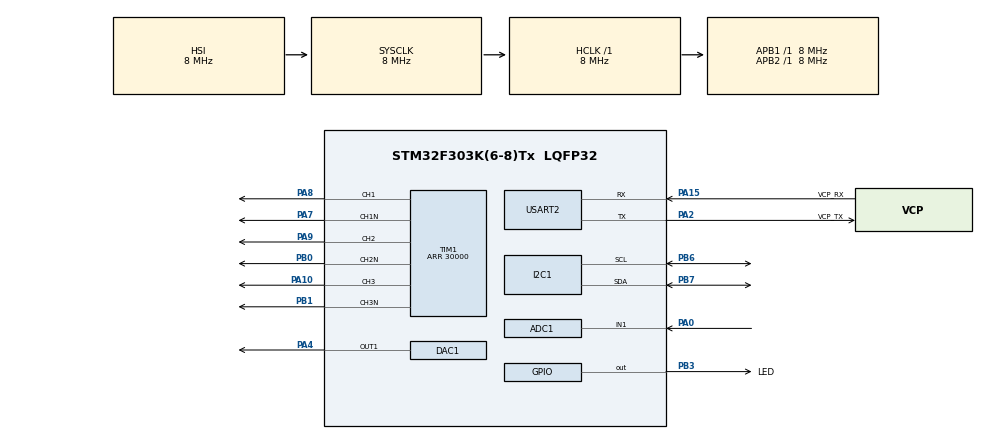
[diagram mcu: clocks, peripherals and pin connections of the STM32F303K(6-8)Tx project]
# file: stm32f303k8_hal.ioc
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ADC1.ClockPrescaler=ADC_CLOCK_SYNC_PCLK_DIV1
ADC1.DMAContinuousRequests=ENABLE
ADC1.EOCSelection=ADC_EOC_SEQ_CONV
ADC1.ExternalTrigConv=ADC_EXTERNALTRIGCONV_T6_TRGO
ADC1.NbrOfConversion=1
ADC1.NbrOfConversionFlag=1
ADC1.Rank1_Channel=ADC_CHANNEL_1
ADC1.SubFamily=STM32F303x8
ADC1.master=1
DAC1.DAC_Trigger=DAC_TRIGGER_T6_TRGO
Dma.ADC1.1.Direction=DMA_PERIPH_TO_MEMORY
Dma.ADC1.1.Instance=DMA1_Channel1
Dma.ADC1.1.MemDataAlignment=DMA_MDATAALIGN_WORD
Dma.ADC1.1.MemInc=DMA_MINC_ENABLE
Dma.ADC1.1.Mode=DMA_CIRCULAR
Dma.ADC1.1.PeriphDataAlignment=DMA_PDATAALIGN_WORD
Dma.ADC1.1.PeriphInc=DMA_PINC_DISABLE
Dma.ADC1.1.Priority=DMA_PRIORITY_HIGH
Dma.DAC1_CH1.0.Direction=DMA_MEMORY_TO_PERIPH
Dma.DAC1_CH1.0.Instance=DMA1_Channel3
Dma.DAC1_CH1.0.MemDataAlignment=DMA_MDATAALIGN_WORD
Dma.DAC1_CH1.0.MemInc=DMA_MINC_ENABLE
Dma.DAC1_CH1.0.Mode=DMA_CIRCULAR
Dma.DAC1_CH1.0.PeriphDataAlignment=DMA_PDATAALIGN_WORD
Dma.DAC1_CH1.0.PeriphInc=DMA_PINC_DISABLE
Dma.DAC1_CH1.0.Priority=DMA_PRIORITY_HIGH
Dma.Request0=DAC1_CH1
Dma.Request1=ADC1
Mcu.Family=STM32F3
Mcu.Name=STM32F303K(6-8)Tx
Mcu.Package=LQFP32
NVIC.DMA1_Channel1_IRQn=true\:2\:0\:true\:false\:true\:false\:true\:true
NVIC.DMA1_Channel3_IRQn=true\:3\:0\:true\:false\:true\:false\:true\:true
NVIC.PriorityGroup=NVIC_PRIORITYGROUP_4
NVIC.TIM1_UP_TIM16_IRQn=true\:0\:0\:true\:false\:true\:true\:true\:true
PA0.Mode=IN1-Single-Ended
PA0.Signal=ADC1_IN1
PA10.Signal=S_TIM1_CH3
PA13.GPIO_Label=SWDIO
PA13.Mode=Serial_Wire
PA13.Signal=SYS_JTMS-SWDIO
PA14.GPIO_Label=SWCLK
PA14.Mode=Serial_Wire
PA14.Signal=SYS_JTCK-SWCLK
PA15.GPIO_Label=VCP_RX
PA15.Mode=Asynchronous
PA15.Signal=USART2_RX
PA2.GPIO_Label=VCP_TX
PA2.Mode=Asynchronous
PA2.Signal=USART2_TX
PA4.Signal=COMP_DAC11_group
PA7.Mode=PWM Generation1 CH1 CH1N
PA7.Signal=TIM1_CH1N
PA8.Signal=S_TIM1_CH1
PA9.Signal=S_TIM1_CH2
PB0.Mode=PWM Generation2 CH2 CH2N
PB0.Signal=TIM1_CH2N
PB1.Mode=PWM Generation3 CH3 CH3N
PB1.Signal=TIM1_CH3N
PB3.GPIO_Label=LED
PB3.PinState=GPIO_PIN_RESET
PB3.Signal=GPIO_Output
PB6.Mode=I2C
PB6.Signal=I2C1_SCL
PB7.Mode=I2C
PB7.Signal=I2C1_SDA
PF0\ /\ OSC_IN.GPIO_Label=MCO
PF0\ /\ OSC_IN.Mode=HSE-External-Clock-Source
PF0\ /\ OSC_IN.Signal=RCC_OSC_IN
ProjectManager.HeapSize=0x200
ProjectManager.StackSize=0x400
ProjectManager.TargetToolchain=STM32CubeIDE
RCC.AHBFreq_Value=8000000
RCC.APB1Freq_Value=8000000
RCC.APB1TimFreq_Value=8000000
RCC.APB2Freq_Value=8000000
RCC.APB2TimFreq_Value=8000000
RCC.CortexFreq_Value=8000000
RCC.HSE_VALUE=8000000
RCC.HSI_VALUE=8000000
RCC.PLLMUL=RCC_PLL_MUL4
RCC.SYSCLKFreq_VALUE=8000000
SH.COMP_DAC11_group.0=DAC1_OUT1,DAC_OUT1
SH.S_TIM1_CH1.0=TIM1_CH1,PWM Generation1 CH1 CH1N
SH.S_TIM1_CH2.0=TIM1_CH2,PWM Generation2 CH2 CH2N
SH.S_TIM1_CH3.0=TIM1_CH3,PWM Generation3 CH3 CH3N
TIM1.Channel-PWM\ Generation1\ CH1\ CH1N=TIM_CHANNEL_1
TIM1.Channel-PWM\ Generation2\ CH2\ CH2N=TIM_CHANNEL_2
TIM1.Channel-PWM\ Generation3\ CH3\ CH3N=TIM_CHANNEL_3
TIM1.CounterMode=TIM_COUNTERMODE_CENTERALIGNED1
TIM1.Period=30000
TIM1.Pulse-PWM\ Generation1\ CH1\ CH1N=7500
TIM1.Pulse-PWM\ Generation2\ CH2\ CH2N=15000
TIM1.Pulse-PWM\ Generation3\ CH3\ CH3N=22500
TIM1.RepetitionCounter=3
TIM6.AutoReloadPreload=TIM_AUTORELOAD_PRELOAD_ENABLE
TIM6.Period=64
TIM6.Prescaler=0
TIM6.TIM_MasterOutputTrigger=TIM_TRGO_UPDATE
USART2.VirtualMode-Asynchronous=VM_ASYNC
VP_TIM6_VS_ClockSourceINT.Mode=Enable_Timer
board=NUCLEO-F303K8

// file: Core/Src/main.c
/* USER CODE BEGIN Header */
/**
  ******************************************************************************
  * @file           : main.c
  * @brief          : Main program body
  ******************************************************************************
  * @attention
  *
  * Copyright (c) 2023 STMicroelectronics.
  * All rights reserved.
  *
  * This software is licensed under terms that can be found in the LICENSE file
  * in the root directory of this software component.
  * If no LICENSE file comes with this software, it is provided AS-IS.
  *
  ******************************************************************************
  */
/* USER CODE END Header */
#include "main.h"
#include "adc.h"
#include "dac.h"
#include "dma.h"
#include "i2c.h"
#include "tim.h"
#include "usart.h"
#include "gpio.h"

/* USER CODE BEGIN Includes */
#include <stdlib.h>
/* USER CODE END Includes */

/* USER CODE BEGIN PD */
#define BUFFERSIZE            128
#define SCREEN_FONT		     Font_7x10

#define TIM1_PWM_FREQ_4K      7500
#define TIM1_PWM_FREQ_8K      15000
#define TIM1_PWM_FREQ_16K     30000

#define TIM1_PWM_4K_25DUTY      ( TIM1_PWM_FREQ_4K * 0.25 )
#define TIM1_PWM_4K_50DUTY      ( TIM1_PWM_FREQ_4K * 0.50 )
#define TIM1_PWM_4K_75DUTY      ( TIM1_PWM_FREQ_4K * 0.75 )

#define TIM1_PWM_8K_25DUTY      ( TIM1_PWM_FREQ_8K * 0.25 )
#define TIM1_PWM_8K_50DUTY      ( TIM1_PWM_FREQ_8K * 0.50 )
#define TIM1_PWM_8K_75DUTY      ( TIM1_PWM_FREQ_8K * 0.75 )

#define TIM1_PWM_16K_25DUTY      ( TIM1_PWM_FREQ_16K * 0.25 )
#define TIM1_PWM_16K_50DUTY      ( TIM1_PWM_FREQ_16K * 0.50 )
#define TIM1_PWM_16K_75DUTY      ( TIM1_PWM_FREQ_16K * 0.75 )
/* USER CODE END PD */

/* USER CODE BEGIN PV */
//uint32_t timer_ar_value = TIM1_PWM_FREQ_4K;
//uint32_t i = 0;
uint32_t j = 0;
uint32_t tmp[4];
uint32_t adc_buffer[BUFFERSIZE];
uint32_t dac_buffer[BUFFERSIZE];
char buffer [32];
static volatile uint32_t* inbufferPtr;
static volatile uint32_t* outbufferPtr;
/* USER CODE END PV */

void SystemClock_Config(void);
/* USER CODE BEGIN PFP */
void processDSP();
/* USER CODE END PFP */

int main(void)
{

  /* MCU Configuration--------------------------------------------------------*/

  /* Reset of all peripherals, Initializes the Flash interface and the Systick. */
  HAL_Init();

  /* Configure the system clock */
  SystemClock_Config();

  /* Initialize all configured peripherals */
  MX_GPIO_Init();
  MX_DMA_Init();
  MX_USART2_UART_Init();
  MX_TIM1_Init();
  MX_I2C1_Init();
  MX_ADC1_Init();
  MX_TIM6_Init();
  MX_DAC1_Init();
  /* USER CODE BEGIN 2 */
//  inbufferPtr = &adc_buffer[0];
//  outbufferPtr = &dac_buffer[0];
//
//  HAL_TIM_Base_Start_IT( &htim1 );
//  HAL_TIM_PWM_Start( &htim1, TIM_CHANNEL_1 );
//  HAL_TIM_PWM_Start( &htim1, TIM_CHANNEL_2 );
//  HAL_TIM_PWM_Start( &htim1, TIM_CHANNEL_3 );
//  HAL_TIMEx_PWMN_Start( &htim1, TIM_CHANNEL_1 );
//  HAL_TIMEx_PWMN_Start( &htim1, TIM_CHANNEL_2 );
//  HAL_TIMEx_PWMN_Start( &htim1, TIM_CHANNEL_3 );
  HAL_TIM_Base_Start(&htim6);
  HAL_ADC_Start_DMA(&hadc1, (uint32_t *)adc_buffer, BUFFERSIZE);
  HAL_DAC_Start_DMA(&hdac1, DAC1_CHANNEL_1, (uint32_t *)dac_buffer, BUFFERSIZE, DAC_ALIGN_12B_R);
  ssd1306_Init();
  /* USER CODE END 2 */

  /* Infinite loop */
  /* USER CODE BEGIN WHILE */
  inbufferPtr = &adc_buffer[0];
  outbufferPtr = &dac_buffer[BUFFERSIZE/2];
  while (1)
  {
//	  if (j>127) {
//		  HAL_GPIO_TogglePin(GPIOB, LED_Pin);
//		  j = 0;
//		  ssd1306_Fill(Black);
//		  for(int i=0; i<BUFFERSIZE/2; i++) {
//		   ssd1306_DrawPixel(2*i, (64*adc_buffer[i])/4100, White);
//		  }
//		  ssd1306_UpdateScreen();
//	  }
//	  else {
//		  j ++;
//	  }

//	HAL_ADC_PollForConversion(&hadc1, 100);
//	adc_buffer = 3.4 * HAL_ADC_GetValue(&hadc1) / 4095;
//	gcvt((float)adc_buffer[0], 5, buffer);
//
//	i = 10000; while(i--);
//
//	HAL_DACEx_DualSetValue(&hdac1, DAC_ALIGN_12B_L, adc_buffer[0], adc_buffer[1]);
//	HAL_DAC_Start_DMA(&hdac1, DAC1_CHANNEL_1, (uint32_t*)dac_ch1_buffer, 1, DAC_ALIGN_12B_R);
//	HAL_DAC_Start_DMA(&hdac1, DAC1_CHANNEL_2, (uint32_t*)dac_ch2_buffer, 1, DAC_ALIGN_12B_R);
//	HAL_DAC_Start(&hdac1, DAC1_CHANNEL_1);
//	HAL_DAC_Start(&hdac1, DAC1_CHANNEL_2);
//
//	i = 10000; while(i--);
//	  tmp[2] = j;
//  ssd1306_Fill(Black);
//  for(i=0; i<BUFFERSIZE; i++) {
//	  ssd1306_DrawPixel(i, (2+64*adc_buffer[i/2])/4100, White);
//  }
//  ssd1306_UpdateScreen();
  // ssd1306_SetCursor(0, 0); 		itoa(adc_buffer[0], buffer, 16); 	ssd1306_WriteString(buffer, SCREEN_FONT, White);
  // ssd1306_SetCursor(64, 0); 	itoa(tmp[0], buffer, 16); 			ssd1306_WriteString(buffer, SCREEN_FONT, White);
  // ssd1306_SetCursor(0, 12); 	itoa(adc_buffer[1], buffer, 16); 	ssd1306_WriteString(buffer, SCREEN_FONT, White);
  // ssd1306_SetCursor(64, 12); 	itoa(tmp[1], buffer, 16); 			ssd1306_WriteString(buffer, SCREEN_FONT, White);
  // ssd1306_SetCursor(0, 24); 	itoa(adc_buffer[2], buffer, 16); 	ssd1306_WriteString(buffer, SCREEN_FONT, White);
  // ssd1306_SetCursor(64, 24); 	itoa(tmp[2], buffer, 16); 			ssd1306_WriteString(buffer, SCREEN_FONT, White);

//  processDSP();

    /* USER CODE END WHILE */

  }
}

void SystemClock_Config(void)
{
  RCC_OscInitTypeDef RCC_OscInitStruct = {0};
  RCC_ClkInitTypeDef RCC_ClkInitStruct = {0};
  RCC_PeriphCLKInitTypeDef PeriphClkInit = {0};

  /** Initializes the RCC Oscillators according to the specified parameters
  * in the RCC_OscInitTypeDef structure.
  */
  RCC_OscInitStruct.OscillatorType = RCC_OSCILLATORTYPE_HSI;
  RCC_OscInitStruct.HSIState = RCC_HSI_ON;
  RCC_OscInitStruct.HSICalibrationValue = RCC_HSICALIBRATION_DEFAULT;
  RCC_OscInitStruct.PLL.PLLState = RCC_PLL_NONE;
  if (HAL_RCC_OscConfig(&RCC_OscInitStruct) != HAL_OK)
  {
    Error_Handler();
  }

  /** Initializes the CPU, AHB and APB buses clocks
  */
  RCC_ClkInitStruct.ClockType = RCC_CLOCKTYPE_HCLK|RCC_CLOCKTYPE_SYSCLK
                              |RCC_CLOCKTYPE_PCLK1|RCC_CLOCKTYPE_PCLK2;
  RCC_ClkInitStruct.SYSCLKSource = RCC_SYSCLKSOURCE_HSI;
  RCC_ClkInitStruct.AHBCLKDivider = RCC_SYSCLK_DIV1;
  RCC_ClkInitStruct.APB1CLKDivider = RCC_HCLK_DIV1;
  RCC_ClkInitStruct.APB2CLKDivider = RCC_HCLK_DIV1;

  if (HAL_RCC_ClockConfig(&RCC_ClkInitStruct, FLASH_LATENCY_0) != HAL_OK)
  {
    Error_Handler();
  }
  PeriphClkInit.PeriphClockSelection = RCC_PERIPHCLK_I2C1|RCC_PERIPHCLK_TIM1;
  PeriphClkInit.I2c1ClockSelection = RCC_I2C1CLKSOURCE_HSI;
  PeriphClkInit.Tim1ClockSelection = RCC_TIM1CLK_HCLK;
  if (HAL_RCCEx_PeriphCLKConfig(&PeriphClkInit) != HAL_OK)
  {
    Error_Handler();
  }
}

/* USER CODE BEGIN 4 */
void HAL_ADC_ConvHalfCpltCallback(ADC_HandleTypeDef* hadc) {
	inbufferPtr = &adc_buffer[BUFFERSIZE/2];
	outbufferPtr = &dac_buffer[0];
	processDSP();
}

void HAL_ADC_ConvCpltCallback(ADC_HandleTypeDef* hadc) {
  inbufferPtr = &adc_buffer[0];
  outbufferPtr = &dac_buffer[BUFFERSIZE/2];
  processDSP();
}

void processDSP() {
  for(int i=0; i<BUFFERSIZE/2; i++) {
    outbufferPtr[i] = inbufferPtr[i];
  }
}

/* USER CODE END 4 */

void Error_Handler(void)
{
  __disable_irq();
  while (1)
  {
  }
}
